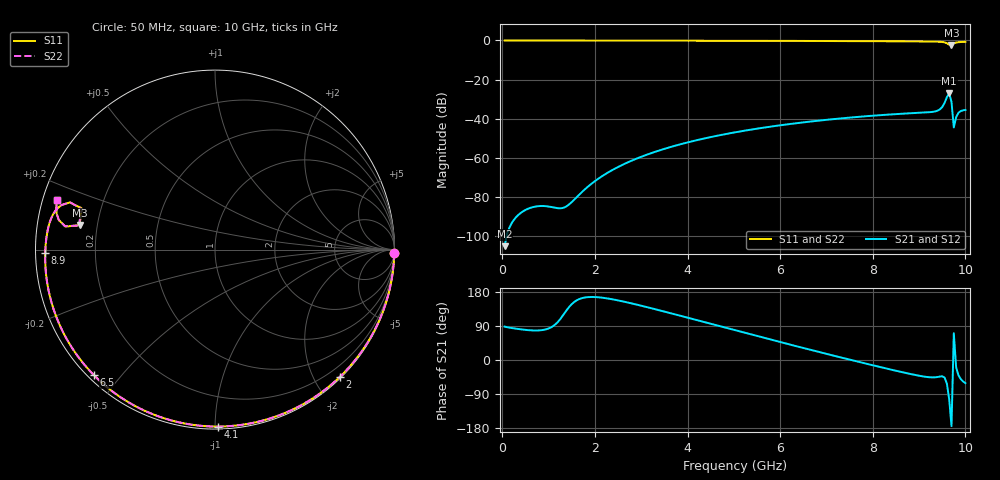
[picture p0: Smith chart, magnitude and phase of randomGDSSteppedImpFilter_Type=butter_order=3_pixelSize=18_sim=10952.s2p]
! freq	dB(S11)	phase(S11)	dB(S12)	phase(S12)
!  dB(S21)	phase(S21)	dB(S22)	phase(S22)
!S-par simulation data
#  GHz  S  DB  R 50
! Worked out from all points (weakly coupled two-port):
!   200 points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, 50 MHz to 10 GHz, reference 50 ohm
!   highest |S21| = -26.97 dB at 9.65 GHz (marker M1); lowest = -105.1 dB at 50 MHz (marker M2)
!   lowest |S11| = -2.3 dB at 9.7 GHz (marker M3), VSWR 7.56, Z = 6.66 + j4.43 ohm
!   |S11| at or under -10 dB: nowhere
!   |S22| runs from -2.2 to 0.0 dB; largest |S21 - S12| = 0
!   S11 on the Smith chart (normalised r, x): 50 MHz: open; 2 GHz: 0.02, -2.39; 4.1 GHz: 0.01, -1.02; 6.5 GHz: 0.02, -0.42; 8.9 GHz: 0.03, -0.01; 10 GHz: 0.04, +0.15
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0.05  -0.01 -1.1  -105.14 88.1  -105.14 88.1  -0.01 -1.1
0.8  -0.02 -18.5  -84.65 78.1  -84.65 78.1  -0.02 -18.5
1.6  -0.05 -36.6  -80.25 156.9  -80.25 156.9  -0.05 -36.6
1.75  -0.05 -39.9  -76.79 164.1  -76.79 164.1  -0.05 -39.9
2  -0.06 -45.4  -71.89 166.2  -71.89 166.2  -0.06 -45.4
2.6  -0.07 -58.4  -63.51 154.7  -63.51 154.7  -0.07 -58.4
3.4  -0.10 -75.0  -56.15 130.9  -56.15 130.9  -0.10 -75.1
4.1  -0.12 -89.1  -51.53 108.5  -51.53 108.5  -0.12 -89.1
5.05  -0.16 -107.3  -46.86 77.7  -46.86 77.7  -0.16 -107.4
6.5  -0.25 -134.0  -41.87 31.7  -41.87 31.7  -0.25 -134.1
6.7  -0.26 -137.7  -41.33 25.5  -41.33 25.5  -0.26 -137.7
8.35  -0.41 -168.1  -37.87 -24.1  -37.87 -24.1  -0.41 -168.2
8.9  -0.48 -179.0  -37.11 -39.1  -37.11 -39.1  -0.48 -179.1
9.45  -0.69 167.7  -35.23 -43.7  -35.23 -43.7  -0.70 167.6
9.5  -0.79 165.9  -34.01 -43.0  -34.01 -43.0  -0.80 165.8
9.6  -1.40 162.0  -29.00 -62.0  -29.00 -62.0  -1.44 161.9
9.65  -2.18 162.7  -26.97 -103.5  -26.97 -103.5  -2.22 163.1
9.7  -2.31 169.7  -31.45 -174.5  -31.45 -174.5  -2.25 170.0
9.75  -1.49 171.3  -44.44 70.5  -44.44 70.5  -1.44 171.1
9.8  -1.06 169.3  -39.25 -19.4  -39.25 -19.4  -1.04 169.1
9.85  -0.88 167.3  -36.95 -40.2  -36.95 -40.2  -0.87 167.1
10  -0.72 162.5  -35.52 -61.1  -35.52 -61.1  -0.71 162.4
